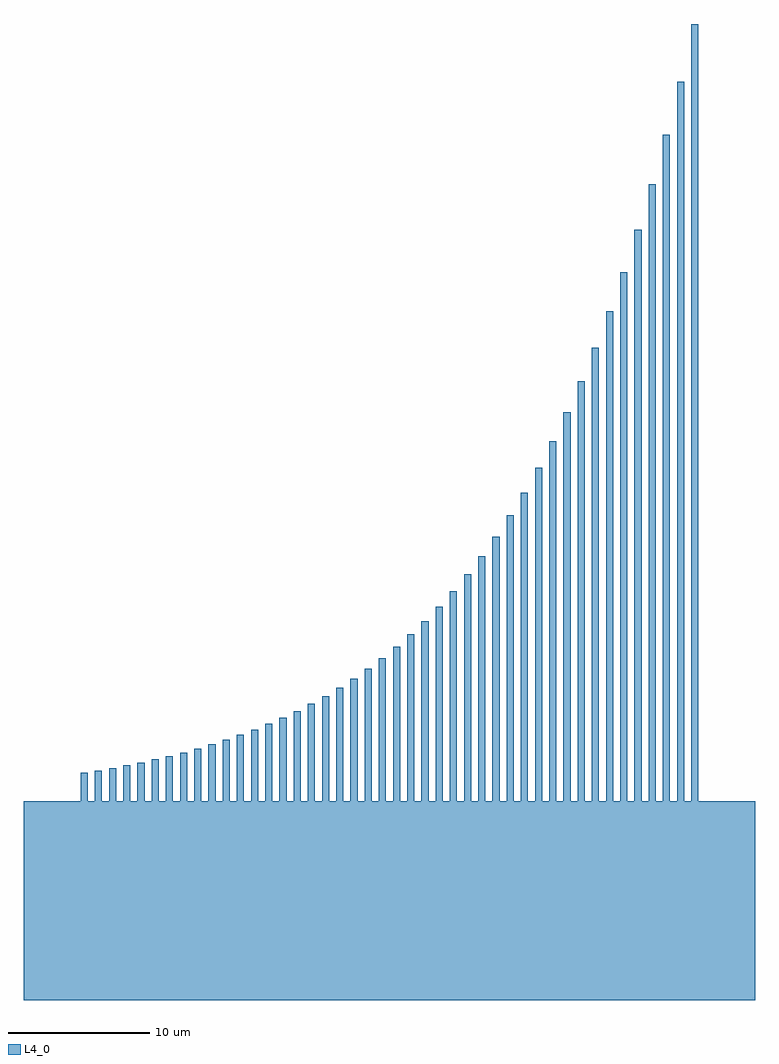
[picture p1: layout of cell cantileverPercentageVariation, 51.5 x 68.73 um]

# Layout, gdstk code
import gdstk
lib = gdstk.Library(unit=1e-6, precision=1e-09)
def R(c, l, rs):  # rectangles x0, y0, x1, y1
    for r in rs: c.add(gdstk.rectangle(r[:2], r[2:], *l))
L4_0 = (4, 0)

cantileverpercentagevari = lib.new_cell('cantileverPercentageVariation')
R(cantileverpercentagevari, L4_0, [(0,0,51.5,14), (4,14,4.5,16), (5,14,5.5,16.16), (6,14,6.5,16.333), (7,14,7.5,16.519), (8,14,8.5,16.721), (9,14,9.5,16.939), (10,14,10.5,17.174), (11,14,11.5,17.428), (12,14,12.5,17.702), (13,14,13.5,17.998), (14,14,14.5,18.318), (15,14,15.5,18.663), (16,14,16.5,19.036), (17,14,17.5,19.439), (18,14,18.5,19.874), (19,14,19.5,20.344), (20,14,20.5,20.852), (21,14,21.5,21.4), (22,14,22.5,21.992), (23,14,23.5,22.631), (24,14,24.5,23.322), (25,14,25.5,24.068), (26,14,26.5,24.873), (27,14,27.5,25.743), (28,14,28.5,26.682), (29,14,29.5,27.697), (30,14,30.5,28.793), (31,14,31.5,29.976), (32,14,32.5,31.254), (33,14,33.5,32.635), (34,14,34.5,34.125), (35,14,35.5,35.735), (36,14,36.5,37.474), (37,14,37.5,39.352), (38,14,38.5,41.38), (39,14,39.5,43.571), (40,14,40.5,45.936), (41,14,41.5,48.491), (42,14,42.5,51.251), (43,14,43.5,54.231), (44,14,44.5,57.449), (45,14,45.5,60.925), (46,14,46.5,64.679), (47,14,47.5,68.733)])

lib.write_gds('cantileverPercentageVariation.gds')
